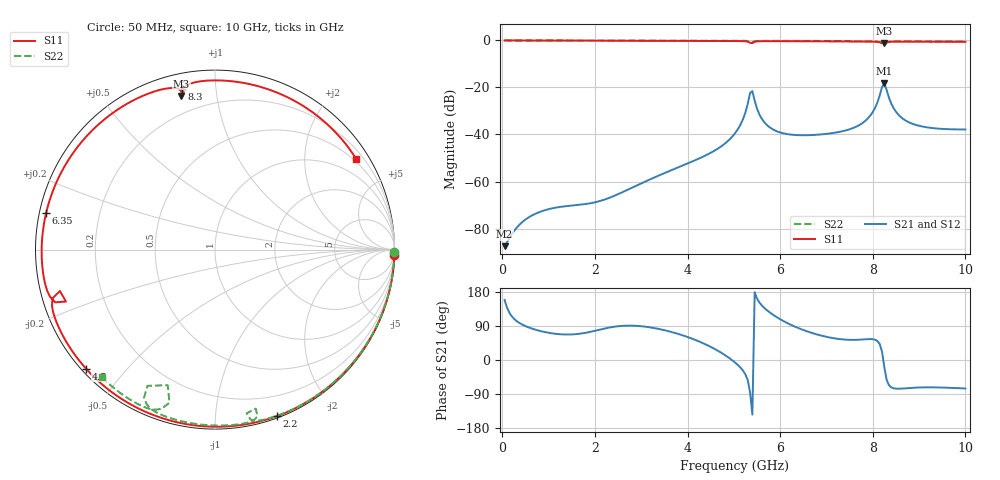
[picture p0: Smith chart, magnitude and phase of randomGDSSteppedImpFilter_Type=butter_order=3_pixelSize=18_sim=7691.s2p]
! freq	dB(S11)	phase(S11)	dB(S12)	phase(S12)
!  dB(S21)	phase(S21)	dB(S22)	phase(S22)
!S-par simulation data
#  GHz  S  DB  R 50
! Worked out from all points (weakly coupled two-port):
!   200 points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, 50 MHz to 10 GHz, reference 50 ohm
!   highest |S21| = -18.28 dB at 8.25 GHz (marker M1); lowest = -87.5 dB at 50 MHz (marker M2)
!   lowest |S11| = -1.2 dB at 8.25 GHz (marker M3), VSWR 15.12, Z = 5.43 + j39.9 ohm
!   |S11| at or under -10 dB: nowhere
!   |S22| runs from -1.9 to 0.0 dB; largest |S21 - S12| = 0
!   S11 on the Smith chart (normalised r, x): 50 MHz: 0, -70; 2.2 GHz: 0.02, -1.44; 4.5 GHz: 0.01, -0.39; 6.35 GHz: 0.02, +0.11; 8.3 GHz: 0.07, +0.81; 10 GHz: 0.42, +3.35
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0.05  -0.00 -1.6  -87.51 158.4  -87.51 158.4  -0.00 -0.8
0.3  -0.01 -9.8  -79.88 103.6  -79.88 103.6  -0.00 -4.6
0.9  -0.03 -29.1  -72.32 74.2  -72.32 74.2  -0.02 -13.7
1.75  -0.07 -55.8  -69.71 70.7  -69.71 70.7  -0.03 -26.4
2.2  -0.09 -69.6  -67.74 82.8  -67.74 82.8  -0.04 -33.0
3.4  -0.14 -105.3  -57.28 81.4  -57.28 81.4  -0.07 -50.3
4.5  -0.19 -137.3  -47.80 34.7  -47.80 34.7  -0.10 -65.6
5.05  -0.24 -153.9  -38.81 -9.1  -38.81 -9.1  -0.12 -73.3
5.2  -0.30 -159.0  -33.37 -28.3  -33.37 -28.3  -0.15 -75.8
5.4  -1.12 -160.8  -21.52 -144.3  -21.52 -144.3  -0.78 -75.6
5.55  -0.33 -166.1  -31.41 152.1  -31.41 152.1  -0.19 -77.9
5.7  -0.30 -171.4  -35.70 132.9  -35.70 132.9  -0.16 -80.4
6.35  -0.33 167.7  -40.25 86.4  -40.25 86.4  -0.17 -89.2
6.7  -0.36 156.2  -40.22 70.8  -40.22 70.8  -0.19 -93.6
7.8  -0.47 117.4  -34.82 54.3  -34.82 54.3  -0.28 -107.9
8.05  -0.55 107.4  -28.64 53.5  -28.64 53.5  -0.42 -112.5
8.25  -1.15 102.4  -18.28 -19.3  -18.28 -19.3  -1.94 -109.2
8.3  -0.78 101.8  -21.11 -52.5  -21.11 -52.5  -1.02 -106.6
8.35  -0.61 99.3  -24.37 -66.5  -24.37 -66.5  -0.59 -108.4
8.55  -0.51 90.4  -31.50 -75.8  -31.50 -75.8  -0.35 -113.4
8.8  -0.52 80.3  -34.99 -73.8  -34.99 -73.8  -0.34 -117.2
10  -0.58 32.8  -37.86 -75.0  -37.86 -75.0  -0.45 -131.6
